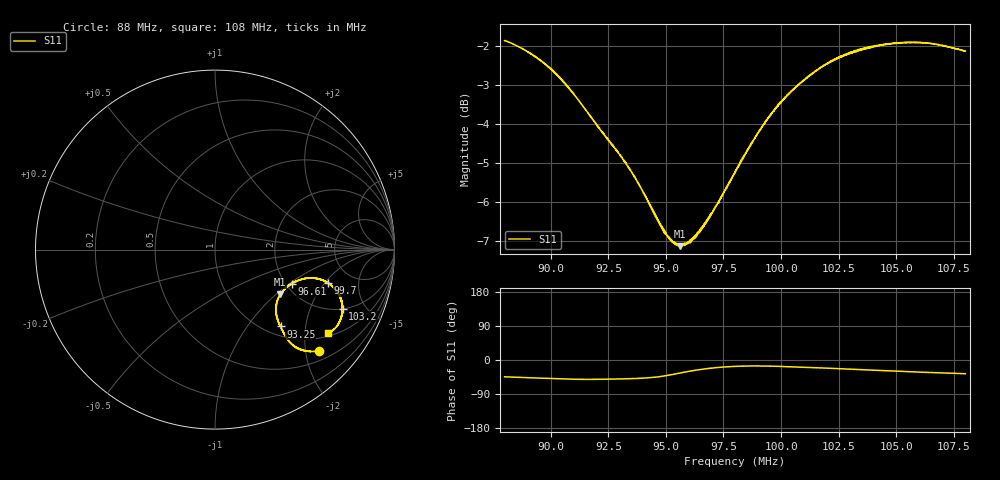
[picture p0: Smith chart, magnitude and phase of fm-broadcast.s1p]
! Calibrated averaged scanner-service zoom
# Hz S RI R 50
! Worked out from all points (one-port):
!   2001 points, 88 MHz to 108 MHz, reference 50 ohm
!   lowest |S11| = -7.1 dB at 95.62 MHz (marker M1), VSWR 2.57, Z = 86.3 - j53.2 ohm
!   |S11| at or under -10 dB: nowhere
!   S11 on the Smith chart (normalised r, x): 88 MHz: 0.70, -2.27; 93.25 MHz: 1.16, -1.46; 96.61 MHz: 2.13, -1.05; 99.7 MHz: 3.32, -2.17; 103.2 MHz: 2.02, -3.44; 108 MHz: 1.11, -2.64
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8.8e7  0.5768 -0.5642
8.855e7  0.5556 -0.5673
8.938e7  0.5185 -0.5662
8.999e7  0.4882 -0.5608
9.05e7  0.4611 -0.5487
9.109e7  0.4324 -0.5301
9.171e7  0.4067 -0.5031
9.3e7  0.3707 -0.4411
9.325e7  0.3652 -0.4284
9.394e7  0.3489 -0.3871
9.459e7  0.338 -0.3374
9.502e7  0.3424 -0.3004
9.55e7  0.3586 -0.2583
9.562e7  0.3634 -0.2488
9.605e7  0.3878 -0.2172
9.661e7  0.4263 -0.1921
9.733e7  0.4763 -0.1672
9.8e7  0.525 -0.1594
9.878e7  0.5782 -0.1624
9.97e7  0.6304 -0.1863
1.005e8  0.6632 -0.215
1.0177e8  0.6989 -0.2651
1.03e8  0.7105 -0.318
1.032e8  0.7113 -0.3282
1.0434e8  0.7056 -0.3698
1.055e8  0.691 -0.4071
1.0684e8  0.6613 -0.446
1.08e8  0.6308 -0.4624
